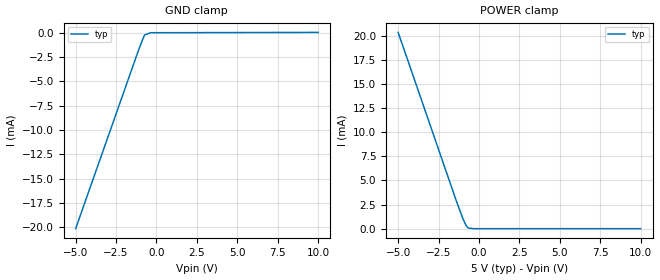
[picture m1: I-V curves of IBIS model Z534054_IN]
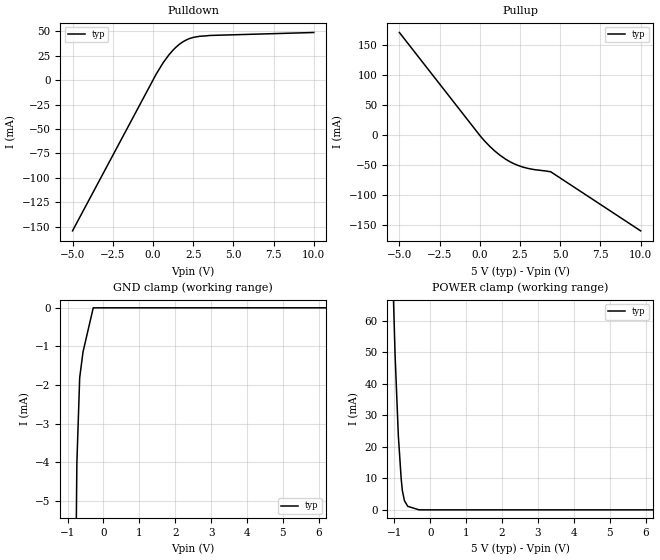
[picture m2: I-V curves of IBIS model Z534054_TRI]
| YOU ARE ONLY AUTHORIZED TO USE THIS SOFTWARE
| ACCORDING TO LICENSOR'S LICENSE RESTRICTIONS.
[IBIS Ver] 3.1
[File Name] mc54hc533j.ibs
[File Rev] 2.0
[Source] Measured and created by ICX Technology
[Date] Friday 7/14/00 9:08:07 AM
[Copyright]
| (C) COPYRIGHT 1993-2000
| MENTOR GRAPHICS CORPORATION
| ICX STANDARD LIBRARY, ICX PROJECT MODELING,
| ICX CUSTOM MODELING, ICX VENDOR MODEL
| ALL RIGHTS RESERVED.
| THE FOLLOWING ARE TRADEMARKS OR SERVICE MARKS OF
| MENTOR GRAPHICS CORPORATION:ICX (R), ICX STANDARD
| LIBRARY(R), ICX PROJECT MODELING(R), ICX CUSTOM
| MODELING(R), qualityIBIS(TM), MODELVIEWER(TM),
| AND MODELEDITOR(TM)
| ALL COPIES OF SOFTWARE, INCLUDING BUT NOT LIMITED TO
| ANY MODIFICATIONS, ENHANCEMENTS OR DERIVATIVE WORKS,
| MUST CONTAIN ALL MENTOR GRAPHICS CORPORATION'S
| NOTICES AND LEGENDS, INCLUDING THOSE EMBEDDED IN
| SOFTWARE AND THOSE AFFIXED TO SOFTWARE MEDIUM
| AND CONTAINER, AS RECEIVED FROM MENTOR GRAPHICS
| CORPORATION.
|  ZAP Model Builder 2.7
[Component] MC54HC533J
[Manufacturer] OnSemiconductor
[Package]
| variable   typ   min   max
R_pkg  .216ohms NA NA
L_pkg  5.76nH NA NA
C_pkg  2.193pF NA NA
[Pin] signal_name  model_name  R_pin  L_pin C_pin
1 _EN Z534054_IN .232 9.76n 3.179p
2 _Q0 Z534054_TRI .224 7.26n 2.686p
3 D0 Z534054_IN .216 5.26n 2.193p
4 D1 Z534054_IN .208 3.76n 1.7p
5 _Q1 Z534054_TRI .2 2.76n 1.207p
6 _Q2 Z534054_TRI .2 2.76n 1.207p
7 D2 Z534054_IN .208 3.76n 1.7p
8 D3 Z534054_IN .216 5.26n 2.193p
9 _Q3 Z534054_TRI .224 7.26n 2.686p
10 GND GND .232 9.76n 3.179p
11 CLK Z534054_IN .232 9.76n 3.179p
12 _Q4 Z534054_TRI .224 7.26n 2.686p
13 D4 Z534054_IN .216 5.26n 2.193p
14 D5 Z534054_IN .208 3.76n 1.7p
15 _Q5 Z534054_TRI .2 2.76n 1.207p
16 _Q6 Z534054_TRI .2 2.76n 1.207p
17 D6 Z534054_IN .208 3.76n 1.7p
18 D7 Z534054_IN .216 5.26n 2.193p
19 _Q7 Z534054_TRI .224 7.26n 2.686p
20 VCC POWER .232 9.76n 3.179p
| Models and submodels in the file (2): Z534054_IN (Input), Z534054_TRI (3-state)
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| (C) COPYRIGHT 1993-2000
| MENTOR GRAPHICS CORPORATION
| ICX STANDARD LIBRARY, ICX PROJECT MODELING,
| ICX CUSTOM MODELING, ICX VENDOR MODEL
| ALL RIGHTS RESERVED.
| THE FOLLOWING ARE TRADEMARKS OR SERVICE MARKS OF
| MENTOR GRAPHICS CORPORATION:ICX (R), ICX STANDARD
| LIBRARY(R), ICX PROJECT MODELING(R), ICX CUSTOM
| MODELING(R), qualityIBIS(TM), MODELVIEWER(TM),
| AND MODELEDITOR(TM)
| ALL COPIES OF SOFTWARE, INCLUDING BUT NOT LIMITED TO
| ANY MODIFICATIONS, ENHANCEMENTS OR DERIVATIVE WORKS,
| MUST CONTAIN ALL MENTOR GRAPHICS CORPORATION'S
| NOTICES AND LEGENDS, INCLUDING THOSE EMBEDDED IN
| SOFTWARE AND THOSE AFFIXED TO SOFTWARE MEDIUM
| AND CONTAINER, AS RECEIVED FROM MENTOR GRAPHICS
| CORPORATION.
| Model Application Version 1.89 2/18/99.
[Model] Z534054_IN
Model_type Input
Vinl = 1.000V
Vinh = 3.500V
C_comp 4.000pF NA NA
| variable typ   min   max
[Voltage Range] 5.000V NA NA
[GND Clamp Reference] 0.000V NA NA
[POWER Clamp Reference] 5.000V NA NA
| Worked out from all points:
|   POWER clamp passes 1 mA (typ) near -0.98 V on its own axis
[GND Clamp]
-5V       -20.14mA   NA         NA
-1.132V   -1.915mA   NA         NA
-841mV    -657.8uA   NA         NA
-729.1mV  -240.9uA   NA         NA
-364.5mV  -16.78uA   NA         NA
10V       17.17uA    NA         NA
[POWER Clamp]
-5V       20.36mA    NA         NA
-1.403V   2.892mA    NA         NA
-1.002V   1.07mA     NA         NA
-790mV    304uA      NA         NA
-671mV    69.14uA    NA         NA
-335.5mV  0A         NA         NA
10V       0A         NA         NA
| (C) COPYRIGHT 1993-2000
| MENTOR GRAPHICS CORPORATION
| ICX STANDARD LIBRARY, ICX PROJECT MODELING,
| ICX CUSTOM MODELING, ICX VENDOR MODEL
| ALL RIGHTS RESERVED.
| THE FOLLOWING ARE TRADEMARKS OR SERVICE MARKS OF
| MENTOR GRAPHICS CORPORATION:ICX (R), ICX STANDARD
| LIBRARY(R), ICX PROJECT MODELING(R), ICX CUSTOM
| MODELING(R), qualityIBIS(TM), MODELVIEWER(TM),
| AND MODELEDITOR(TM)
| ALL COPIES OF SOFTWARE, INCLUDING BUT NOT LIMITED TO
| ANY MODIFICATIONS, ENHANCEMENTS OR DERIVATIVE WORKS,
| MUST CONTAIN ALL MENTOR GRAPHICS CORPORATION'S
| NOTICES AND LEGENDS, INCLUDING THOSE EMBEDDED IN
| SOFTWARE AND THOSE AFFIXED TO SOFTWARE MEDIUM
| AND CONTAINER, AS RECEIVED FROM MENTOR GRAPHICS
| CORPORATION.
| Model Application Version 1.89 2/18/99.
[Model] Z534054_TRI
Model_type 3-state
Vref=0.000V
Rref=500.0Mohms
Cref=50.00pF
Vmeas=2.500V
C_comp 8.000pF NA NA
| variable typ   min   max
[Voltage Range] 5.000V NA NA
[POWER Clamp Reference] 5.000V NA NA
[Pullup Reference] 5.000V NA NA
[Pulldown Reference] 0.000V NA NA
[GND Clamp Reference] 0.000V NA NA
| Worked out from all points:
|   slope of the pulldown table from 0 to 0.75 V, typ, clamps not added: 36.6 ohm
|   slope of the pullup table from 0 to 0.75 V, typ, clamps not added: 34.9 ohm
[GND Clamp]
-5V       -474.6mA   NA         NA
-1.268V   -55.04mA   NA         NA
-742.1mV  -4.025mA   NA         NA
-663.8mV  -1.813mA   NA         NA
-570.9mV  -1.143mA   NA         NA
-285.5mV  0A         NA         NA
10V       0A         NA         NA
[Pulldown]
-5V       -154.4mA   NA         NA
201.5mV   6.26mA     NA         NA
645.4mV   18.2mA     NA         NA
997.8mV   26.09mA    NA         NA
1.25V     30.89mA    NA         NA
1.682V    37.37mA    NA         NA
2.295V    42.89mA    NA         NA
2.892V    45.07mA    NA         NA
10V       48.95mA    NA         NA
[Pullup]
-5V       170.6mA    NA         NA
39mV      -2.23mA    NA         NA
933mV     -26.96mA   NA         NA
1.596V    -40.36mA   NA         NA
2.301V    -50.18mA   NA         NA
3.156V    -56.81mA   NA         NA
4.408V    -61.49mA   NA         NA
10V       -160mA     NA         NA
[POWER Clamp]
-5V       2.544A     NA         NA
-1.279V   189.6mA    NA         NA
-1.094V   92.78mA    NA         NA
-984mV    49.31mA    NA         NA
-893mV    23.54mA    NA         NA
-813mV    9.793mA    NA         NA
-781mV    6.12mA     NA         NA
-723mV    2.889mA    NA         NA
-630mV    1.118mA    NA         NA
-315mV    0A         NA         NA
10V       0A         NA         NA
[Ramp]
| variable typ min max
dV/dt_r 2.836/2.208n NA NA
dV/dt_f 2.836/1.326n NA NA
R_load = 500.0Ohms
